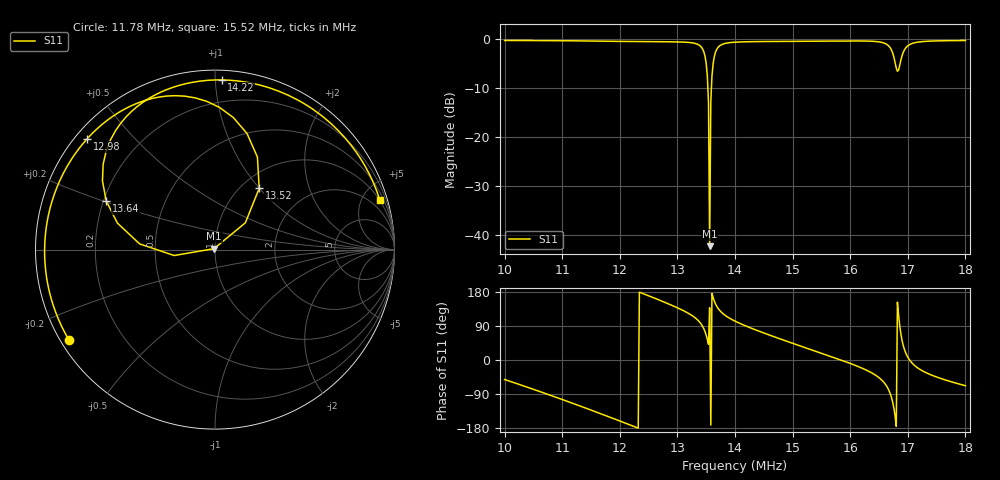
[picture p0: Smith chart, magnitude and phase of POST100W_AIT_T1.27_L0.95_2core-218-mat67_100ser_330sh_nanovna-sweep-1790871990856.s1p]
! NanoVNA Web complex sweep
! Processing: original sample grid, no browser smoothing
# Hz S RI R 50
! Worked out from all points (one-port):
!   401 points, 10 MHz to 18 MHz, reference 50 ohm
!   lowest |S11| = -42.4 dB at 13.56 MHz (marker M1), VSWR 1.02, Z = 49.4 + j0.504 ohm
!   |S11| at or under -10 dB: 13.52918 MHz to 13.59054 MHz (61.36 kHz wide, 0.453 % of centre)
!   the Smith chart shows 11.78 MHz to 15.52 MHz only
!   S11 on the Smith chart (normalised r, x): 11.78 MHz: 0.02, -0.29; 12.98 MHz: 0.03, +0.37; 13.52 MHz: 1.20, +1.00; 13.64 MHz: 0.21, +0.20; 14.22 MHz: 0.06, +1.04; 15.52 MHz: 0.96, +6.61
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1e7  0.6066 -0.7628
1.1e7  -0.238 -0.9399
1.178e7  -0.8126 -0.5052
1.2e7  -0.9009 -0.3118
1.298e7  -0.7132 0.6164
1.3e7  -0.6977 0.633
1.344e7  0.0261 0.7917
1.35e7  0.2363 0.5157
1.352e7  0.2463 0.3412
1.356e7  -0.00566 0.0051
1.36e7  -0.4198 0.0317
1.362e7  -0.5439 0.1478
1.364e7  -0.6063 0.272
1.378e7  -0.495 0.7399
1.4e7  -0.2041 0.9135
1.422e7  0.0371 0.9454
1.5e7  0.6855 0.6645
1.552e7  0.9177 0.2781
1.6e7  0.9491 -0.1523
1.642e7  0.7506 -0.5878
1.664e7  0.2908 -0.8358
1.672e7  -0.1427 -0.7569
1.678e7  -0.4937 -0.3016
1.682e7  -0.4189 0.2162
1.688e7  0.2233 0.5714
1.7e7  0.8524 0.1111
1.734e7  0.7827 -0.5508
1.8e7  0.3678 -0.9012
